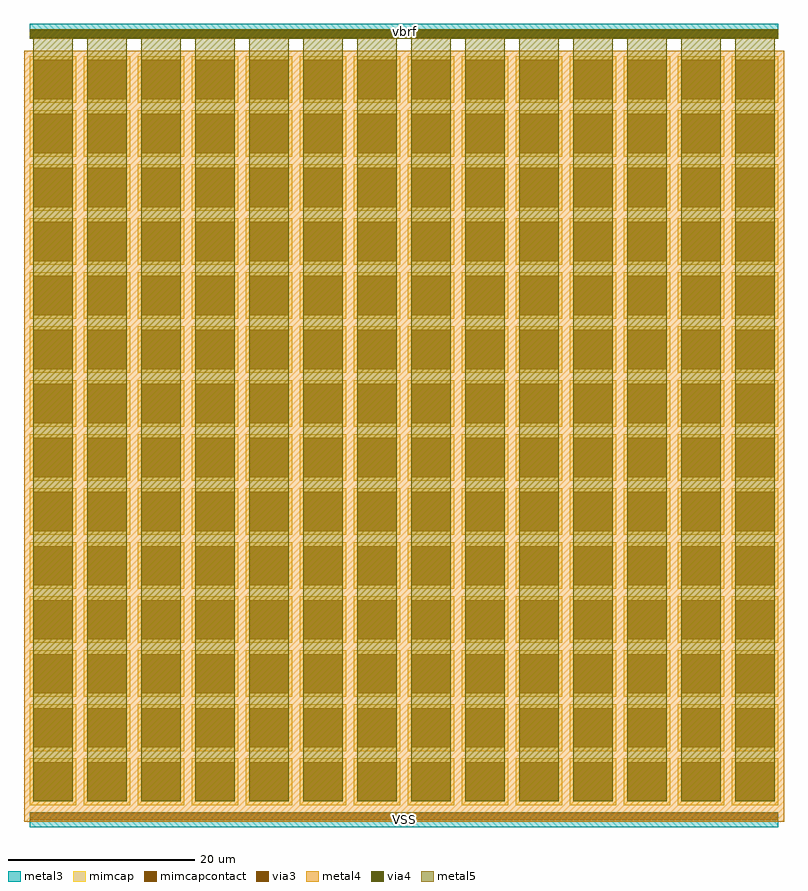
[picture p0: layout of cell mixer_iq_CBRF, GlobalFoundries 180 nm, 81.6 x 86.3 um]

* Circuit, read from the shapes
.subckt mixer_iq_CBRF vbrf VSS
XC1 vbrf VSS cap_mim_2f0fF c_width=5u c_length=5u m=196
.ends

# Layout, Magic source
magic
tech gf180mcuD
magscale 1 10
<< metal3 >>
rect 0 16460 16080 16660
rect 0 16460 16080 16780
rect 0 16460 16080 16780
rect 0 -340 16080 -160
rect 0 -480 16080 -160
rect 0 -480 16080 -160
<< metal4 >>
rect -120 -360 16200 16200
rect 0 16460 16080 16660
rect 0 16460 16080 16660
rect 0 -340 16080 -160
<< mimcap >>
rect 0 0 1000 1000
rect 1160 0 2160 1000
rect 2320 0 3320 1000
rect 3480 0 4480 1000
rect 4640 0 5640 1000
rect 5800 0 6800 1000
rect 6960 0 7960 1000
rect 8120 0 9120 1000
rect 9280 0 10280 1000
rect 10440 0 11440 1000
rect 11600 0 12600 1000
rect 12760 0 13760 1000
rect 13920 0 14920 1000
rect 15080 0 16080 1000
rect 0 1160 1000 2160
rect 1160 1160 2160 2160
rect 2320 1160 3320 2160
rect 3480 1160 4480 2160
rect 4640 1160 5640 2160
rect 5800 1160 6800 2160
rect 6960 1160 7960 2160
rect 8120 1160 9120 2160
rect 9280 1160 10280 2160
rect 10440 1160 11440 2160
rect 11600 1160 12600 2160
rect 12760 1160 13760 2160
rect 13920 1160 14920 2160
rect 15080 1160 16080 2160
rect 0 2320 1000 3320
rect 1160 2320 2160 3320
rect 2320 2320 3320 3320
rect 3480 2320 4480 3320
rect 4640 2320 5640 3320
rect 5800 2320 6800 3320
rect 6960 2320 7960 3320
rect 8120 2320 9120 3320
rect 9280 2320 10280 3320
rect 10440 2320 11440 3320
rect 11600 2320 12600 3320
rect 12760 2320 13760 3320
rect 13920 2320 14920 3320
rect 15080 2320 16080 3320
rect 0 3480 1000 4480
rect 1160 3480 2160 4480
rect 2320 3480 3320 4480
rect 3480 3480 4480 4480
rect 4640 3480 5640 4480
rect 5800 3480 6800 4480
rect 6960 3480 7960 4480
rect 8120 3480 9120 4480
rect 9280 3480 10280 4480
rect 10440 3480 11440 4480
rect 11600 3480 12600 4480
rect 12760 3480 13760 4480
rect 13920 3480 14920 4480
rect 15080 3480 16080 4480
rect 0 4640 1000 5640
rect 1160 4640 2160 5640
rect 2320 4640 3320 5640
rect 3480 4640 4480 5640
rect 4640 4640 5640 5640
rect 5800 4640 6800 5640
rect 6960 4640 7960 5640
rect 8120 4640 9120 5640
rect 9280 4640 10280 5640
rect 10440 4640 11440 5640
rect 11600 4640 12600 5640
rect 12760 4640 13760 5640
rect 13920 4640 14920 5640
rect 15080 4640 16080 5640
rect 0 5800 1000 6800
rect 1160 5800 2160 6800
rect 2320 5800 3320 6800
rect 3480 5800 4480 6800
rect 4640 5800 5640 6800
rect 5800 5800 6800 6800
rect 6960 5800 7960 6800
rect 8120 5800 9120 6800
rect 9280 5800 10280 6800
rect 10440 5800 11440 6800
rect 11600 5800 12600 6800
rect 12760 5800 13760 6800
rect 13920 5800 14920 6800
rect 15080 5800 16080 6800
rect 0 6960 1000 7960
rect 1160 6960 2160 7960
rect 2320 6960 3320 7960
rect 3480 6960 4480 7960
rect 4640 6960 5640 7960
rect 5800 6960 6800 7960
rect 6960 6960 7960 7960
rect 8120 6960 9120 7960
rect 9280 6960 10280 7960
rect 10440 6960 11440 7960
rect 11600 6960 12600 7960
rect 12760 6960 13760 7960
rect 13920 6960 14920 7960
rect 15080 6960 16080 7960
rect 0 8120 1000 9120
rect 1160 8120 2160 9120
rect 2320 8120 3320 9120
rect 3480 8120 4480 9120
rect 4640 8120 5640 9120
rect 5800 8120 6800 9120
rect 6960 8120 7960 9120
rect 8120 8120 9120 9120
rect 9280 8120 10280 9120
rect 10440 8120 11440 9120
rect 11600 8120 12600 9120
rect 12760 8120 13760 9120
rect 13920 8120 14920 9120
rect 15080 8120 16080 9120
rect 0 9280 1000 10280
rect 1160 9280 2160 10280
rect 2320 9280 3320 10280
rect 3480 9280 4480 10280
rect 4640 9280 5640 10280
rect 5800 9280 6800 10280
rect 6960 9280 7960 10280
rect 8120 9280 9120 10280
rect 9280 9280 10280 10280
rect 10440 9280 11440 10280
rect 11600 9280 12600 10280
rect 12760 9280 13760 10280
rect 13920 9280 14920 10280
rect 15080 9280 16080 10280
rect 0 10440 1000 11440
rect 1160 10440 2160 11440
rect 2320 10440 3320 11440
rect 3480 10440 4480 11440
rect 4640 10440 5640 11440
rect 5800 10440 6800 11440
rect 6960 10440 7960 11440
rect 8120 10440 9120 11440
rect 9280 10440 10280 11440
rect 10440 10440 11440 11440
rect 11600 10440 12600 11440
rect 12760 10440 13760 11440
rect 13920 10440 14920 11440
rect 15080 10440 16080 11440
rect 0 11600 1000 12600
rect 1160 11600 2160 12600
rect 2320 11600 3320 12600
rect 3480 11600 4480 12600
rect 4640 11600 5640 12600
rect 5800 11600 6800 12600
rect 6960 11600 7960 12600
rect 8120 11600 9120 12600
rect 9280 11600 10280 12600
rect 10440 11600 11440 12600
rect 11600 11600 12600 12600
rect 12760 11600 13760 12600
rect 13920 11600 14920 12600
rect 15080 11600 16080 12600
rect 0 12760 1000 13760
rect 1160 12760 2160 13760
rect 2320 12760 3320 13760
rect 3480 12760 4480 13760
rect 4640 12760 5640 13760
rect 5800 12760 6800 13760
rect 6960 12760 7960 13760
rect 8120 12760 9120 13760
rect 9280 12760 10280 13760
rect 10440 12760 11440 13760
rect 11600 12760 12600 13760
rect 12760 12760 13760 13760
rect 13920 12760 14920 13760
rect 15080 12760 16080 13760
rect 0 13920 1000 14920
rect 1160 13920 2160 14920
rect 2320 13920 3320 14920
rect 3480 13920 4480 14920
rect 4640 13920 5640 14920
rect 5800 13920 6800 14920
rect 6960 13920 7960 14920
rect 8120 13920 9120 14920
rect 9280 13920 10280 14920
rect 10440 13920 11440 14920
rect 11600 13920 12600 14920
rect 12760 13920 13760 14920
rect 13920 13920 14920 14920
rect 15080 13920 16080 14920
rect 0 15080 1000 16080
rect 1160 15080 2160 16080
rect 2320 15080 3320 16080
rect 3480 15080 4480 16080
rect 4640 15080 5640 16080
rect 5800 15080 6800 16080
rect 6960 15080 7960 16080
rect 8120 15080 9120 16080
rect 9280 15080 10280 16080
rect 10440 15080 11440 16080
rect 11600 15080 12600 16080
rect 12760 15080 13760 16080
rect 13920 15080 14920 16080
rect 15080 15080 16080 16080
<< metal5 >>
rect 78 78 922 16560
rect 1238 78 2082 16560
rect 2398 78 3242 16560
rect 3558 78 4402 16560
rect 4718 78 5562 16560
rect 5878 78 6722 16560
rect 7038 78 7882 16560
rect 8198 78 9042 16560
rect 9358 78 10202 16560
rect 10518 78 11362 16560
rect 11678 78 12522 16560
rect 12838 78 13682 16560
rect 13998 78 14842 16560
rect 15158 78 16002 16560
rect 0 16460 16080 16660
rect 0 16460 16080 16660
<< via3 >>
rect 10 16470 16070 16650
rect 10 -330 16070 -170
<< via4 >>
rect 10 16470 16070 16650
<< mimcapcontact >>
rect 78 78 922 922
rect 1238 78 2082 922
rect 2398 78 3242 922
rect 3558 78 4402 922
rect 4718 78 5562 922
rect 5878 78 6722 922
rect 7038 78 7882 922
rect 8198 78 9042 922
rect 9358 78 10202 922
rect 10518 78 11362 922
rect 11678 78 12522 922
rect 12838 78 13682 922
rect 13998 78 14842 922
rect 15158 78 16002 922
rect 78 1238 922 2082
rect 1238 1238 2082 2082
rect 2398 1238 3242 2082
rect 3558 1238 4402 2082
rect 4718 1238 5562 2082
rect 5878 1238 6722 2082
rect 7038 1238 7882 2082
rect 8198 1238 9042 2082
rect 9358 1238 10202 2082
rect 10518 1238 11362 2082
rect 11678 1238 12522 2082
rect 12838 1238 13682 2082
rect 13998 1238 14842 2082
rect 15158 1238 16002 2082
rect 78 2398 922 3242
rect 1238 2398 2082 3242
rect 2398 2398 3242 3242
rect 3558 2398 4402 3242
rect 4718 2398 5562 3242
rect 5878 2398 6722 3242
rect 7038 2398 7882 3242
rect 8198 2398 9042 3242
rect 9358 2398 10202 3242
rect 10518 2398 11362 3242
rect 11678 2398 12522 3242
rect 12838 2398 13682 3242
rect 13998 2398 14842 3242
rect 15158 2398 16002 3242
rect 78 3558 922 4402
rect 1238 3558 2082 4402
rect 2398 3558 3242 4402
rect 3558 3558 4402 4402
rect 4718 3558 5562 4402
rect 5878 3558 6722 4402
rect 7038 3558 7882 4402
rect 8198 3558 9042 4402
rect 9358 3558 10202 4402
rect 10518 3558 11362 4402
rect 11678 3558 12522 4402
rect 12838 3558 13682 4402
rect 13998 3558 14842 4402
rect 15158 3558 16002 4402
rect 78 4718 922 5562
rect 1238 4718 2082 5562
rect 2398 4718 3242 5562
rect 3558 4718 4402 5562
rect 4718 4718 5562 5562
rect 5878 4718 6722 5562
rect 7038 4718 7882 5562
rect 8198 4718 9042 5562
rect 9358 4718 10202 5562
rect 10518 4718 11362 5562
rect 11678 4718 12522 5562
rect 12838 4718 13682 5562
rect 13998 4718 14842 5562
rect 15158 4718 16002 5562
rect 78 5878 922 6722
rect 1238 5878 2082 6722
rect 2398 5878 3242 6722
rect 3558 5878 4402 6722
rect 4718 5878 5562 6722
rect 5878 5878 6722 6722
rect 7038 5878 7882 6722
rect 8198 5878 9042 6722
rect 9358 5878 10202 6722
rect 10518 5878 11362 6722
rect 11678 5878 12522 6722
rect 12838 5878 13682 6722
rect 13998 5878 14842 6722
rect 15158 5878 16002 6722
rect 78 7038 922 7882
rect 1238 7038 2082 7882
rect 2398 7038 3242 7882
rect 3558 7038 4402 7882
rect 4718 7038 5562 7882
rect 5878 7038 6722 7882
rect 7038 7038 7882 7882
rect 8198 7038 9042 7882
rect 9358 7038 10202 7882
rect 10518 7038 11362 7882
rect 11678 7038 12522 7882
rect 12838 7038 13682 7882
rect 13998 7038 14842 7882
rect 15158 7038 16002 7882
rect 78 8198 922 9042
rect 1238 8198 2082 9042
rect 2398 8198 3242 9042
rect 3558 8198 4402 9042
rect 4718 8198 5562 9042
rect 5878 8198 6722 9042
rect 7038 8198 7882 9042
rect 8198 8198 9042 9042
rect 9358 8198 10202 9042
rect 10518 8198 11362 9042
rect 11678 8198 12522 9042
rect 12838 8198 13682 9042
rect 13998 8198 14842 9042
rect 15158 8198 16002 9042
rect 78 9358 922 10202
rect 1238 9358 2082 10202
rect 2398 9358 3242 10202
rect 3558 9358 4402 10202
rect 4718 9358 5562 10202
rect 5878 9358 6722 10202
rect 7038 9358 7882 10202
rect 8198 9358 9042 10202
rect 9358 9358 10202 10202
rect 10518 9358 11362 10202
rect 11678 9358 12522 10202
rect 12838 9358 13682 10202
rect 13998 9358 14842 10202
rect 15158 9358 16002 10202
rect 78 10518 922 11362
rect 1238 10518 2082 11362
rect 2398 10518 3242 11362
rect 3558 10518 4402 11362
rect 4718 10518 5562 11362
rect 5878 10518 6722 11362
rect 7038 10518 7882 11362
rect 8198 10518 9042 11362
rect 9358 10518 10202 11362
rect 10518 10518 11362 11362
rect 11678 10518 12522 11362
rect 12838 10518 13682 11362
rect 13998 10518 14842 11362
rect 15158 10518 16002 11362
rect 78 11678 922 12522
rect 1238 11678 2082 12522
rect 2398 11678 3242 12522
rect 3558 11678 4402 12522
rect 4718 11678 5562 12522
rect 5878 11678 6722 12522
rect 7038 11678 7882 12522
rect 8198 11678 9042 12522
rect 9358 11678 10202 12522
rect 10518 11678 11362 12522
rect 11678 11678 12522 12522
rect 12838 11678 13682 12522
rect 13998 11678 14842 12522
rect 15158 11678 16002 12522
rect 78 12838 922 13682
rect 1238 12838 2082 13682
rect 2398 12838 3242 13682
rect 3558 12838 4402 13682
rect 4718 12838 5562 13682
rect 5878 12838 6722 13682
rect 7038 12838 7882 13682
rect 8198 12838 9042 13682
rect 9358 12838 10202 13682
rect 10518 12838 11362 13682
rect 11678 12838 12522 13682
rect 12838 12838 13682 13682
rect 13998 12838 14842 13682
rect 15158 12838 16002 13682
rect 78 13998 922 14842
rect 1238 13998 2082 14842
rect 2398 13998 3242 14842
rect 3558 13998 4402 14842
rect 4718 13998 5562 14842
rect 5878 13998 6722 14842
rect 7038 13998 7882 14842
rect 8198 13998 9042 14842
rect 9358 13998 10202 14842
rect 10518 13998 11362 14842
rect 11678 13998 12522 14842
rect 12838 13998 13682 14842
rect 13998 13998 14842 14842
rect 15158 13998 16002 14842
rect 78 15158 922 16002
rect 1238 15158 2082 16002
rect 2398 15158 3242 16002
rect 3558 15158 4402 16002
rect 4718 15158 5562 16002
rect 5878 15158 6722 16002
rect 7038 15158 7882 16002
rect 8198 15158 9042 16002
rect 9358 15158 10202 16002
rect 10518 15158 11362 16002
rect 11678 15158 12522 16002
rect 12838 15158 13682 16002
rect 13998 15158 14842 16002
rect 15158 15158 16002 16002
<< labels >>
flabel metal3 s 0 16460 16080 16780 0 FreeSans 80 0 0 0 vbrf
port 1 nsew signal bidirectional
flabel metal3 s 0 -480 16080 -160 0 FreeSans 80 0 0 0 VSS
port 2 nsew signal bidirectional
<< end >>
